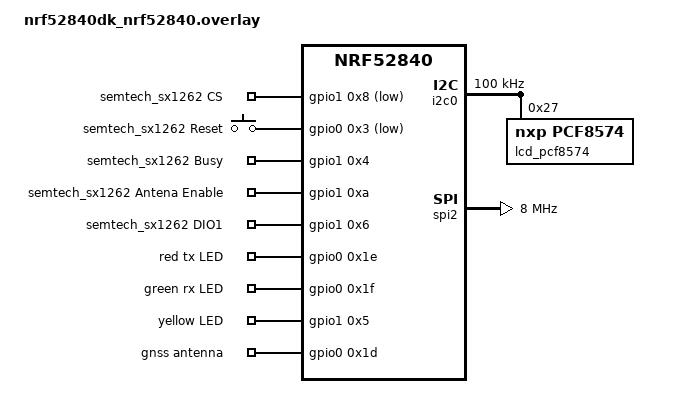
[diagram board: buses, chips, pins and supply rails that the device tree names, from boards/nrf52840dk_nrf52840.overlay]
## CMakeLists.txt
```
#
# Copyright (c) 2022 Nordic Semiconductor ASA
#
# SPDX-License-Identifier: LicenseRef-Nordic-5-Clause
#

cmake_minimum_required(VERSION 3.20.0)

include(../common/bootloader_version.cmake)

set(mcuboot_KCONFIG_ROOT $ENV{ZEPHYR_BASE}/../sidewalk/samples/template_subghz/child_image/mcuboot/Kconfig.root)
set(hci_rpmsg_KCONFIG_ROOT ${CMAKE_CURRENT_SOURCE_DIR}/child_image/hci_rpmsg/Kconfig.root)

find_package(Zephyr REQUIRED HINTS $ENV{ZEPHYR_BASE})
project(sidewalk_template_subghz)

zephyr_include_directories(include)
	# ../../tests/validation/timer/src
# )

target_sources(app PRIVATE
  src/main.c
  src/application_thread.c
  src/board_events.c
  src/sidewalk_callbacks.c
  src/wifi.c
  src/fragment.c
)

if(DEFINED WIFI_DEBUG)
	zephyr_compile_definitions(WIFI_DEBUG)
endif()

if(DEFINED LR11xx)
	zephyr_compile_definitions(LR11xx)
endif()
```

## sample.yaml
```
sample:
  name: Sidewalk application template
  description: Sample implementing Amazon Sidewalk End Device
tests:
  sample.sidewalk.template.lora:
    build_only: true
    platform_allow: nrf52840dk_nrf52840
    integration_platforms:
      - nrf52840dk_nrf52840
    tags: Sidewalk

  sample.sidewalk.template.lora.cli:
    build_only: true
    platform_allow: nrf52840dk_nrf52840
    extra_args: CONFIG_SIDEWALK_CLI=y
    integration_platforms:
      - nrf52840dk_nrf52840
    tags: Sidewalk_cli

  sample.sidewalk.template.lr1110.cli:
    build_only: true
    platform_allow: nrf52840dk_nrf52840
    extra_args: CONFIG_LR1110_CLI=y
    integration_platforms:
      - nrf52840dk_nrf52840
    tags: LR1110_cli

  sample.sidewalk.template.lora.release:
    build_only: true
    platform_allow: nrf52840dk_nrf52840
    extra_args: CONF_FILE=prj_release.conf
    integration_platforms:
      - nrf52840dk_nrf52840
    tags: Sidewalk

  sample.sidewalk.template.lora.dfu_usb:
    build_only: true
    platform_allow: nrf52840dk_nrf52840
    extra_args: OVERLAY_CONFIG=usb_dfu.conf
    integration_platforms:
      - nrf52840dk_nrf52840
    tags: Sidewalk

  sample.sidewalk.template.fsk:
    build_only: true
    platform_allow: nrf52840dk_nrf52840
    extra_args: OVERLAY_CONFIG=fsk.conf
    integration_platforms:
      - nrf52840dk_nrf52840
    tags: Sidewalk

  sample.sidewalk.template.fsk.cli:
    build_only: true
    platform_allow: nrf52840dk_nrf52840
    extra_args: OVERLAY_CONFIG=fsk.conf CONFIG_SIDEWALK_CLI=y
    integration_platforms:
      - nrf52840dk_nrf52840
    tags: Sidewalk_cli

  sample.sidewalk.template.fsk.release:
    build_only: true
    platform_allow: nrf52840dk_nrf52840
    extra_args: OVERLAY_CONFIG=fsk.conf CONF_FILE=prj_release.conf
    integration_platforms:
      - nrf52840dk_nrf52840
    tags: Sidewalk
```

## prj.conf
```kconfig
#
# Copyright (c) 2022 Nordic Semiconductor ASA
#
# SPDX-License-Identifier: LicenseRef-Nordic-5-Clause
#

# LCD1602
# CONFIG_I2C=y

# Sidewalk
CONFIG_SIDEWALK=y
CONFIG_SIDEWALK_LINK_MASK_LORA=y

# Logs
CONFIG_SIDEWALK_LOG_LEVEL_INF=y
CONFIG_NVS_LOG_LEVEL_INF=y
CONFIG_LOG_PRINTK=y

# Buttons and LEDs
CONFIG_GPIO=y
CONFIG_DK_LIBRARY=y

# Bluetooth
CONFIG_BT_DEVICE_NAME="Sid template"

# Debug
CONFIG_RESET_ON_FATAL_ERROR=n
```

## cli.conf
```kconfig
#
# Copyright (c) 2022 Nordic Semiconductor ASA
#
# SPDX-License-Identifier: LicenseRef-Nordic-5-Clause
#

CONFIG_SIDEWALK_CLI=y

CONFIG_LR1110_CLI=y

CONFIG_NEWLIB_LIBC_FLOAT_SCANF=y
```

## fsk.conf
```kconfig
#
# Copyright (c) 2022 Nordic Semiconductor ASA
#
# SPDX-License-Identifier: LicenseRef-Nordic-5-Clause
#

CONFIG_SIDEWALK_LINK_MASK_FSK=y

CONFIG_HW_CC3XX=y
CONFIG_PSA_CRYPTO_DRIVER_CC3XX=y
#CONFIG_PSA_CRYPTO_DRIVER_OBERON=n
CONFIG_MBEDTLS_HEAP_SIZE=1024

CONFIG_SPIN_VALIDATE=n
```

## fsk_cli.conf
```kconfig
#
# Copyright (c) 2022 Nordic Semiconductor ASA
#
# SPDX-License-Identifier: LicenseRef-Nordic-5-Clause
#

CONFIG_SIDEWALK_LINK_MASK_FSK=y

CONFIG_HW_CC3XX=y
CONFIG_PSA_CRYPTO_DRIVER_CC3XX=y
#CONFIG_PSA_CRYPTO_DRIVER_OBERON=n
CONFIG_MBEDTLS_HEAP_SIZE=1024

CONFIG_SPIN_VALIDATE=n

CONFIG_SIDEWALK_CLI=y
CONFIG_LR1110_CLI=y
CONFIG_NEWLIB_LIBC_FLOAT_SCANF=y
```

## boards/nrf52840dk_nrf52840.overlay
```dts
/*
 * Copyright (c) 2022 Nordic Semiconductor ASA
 *
 * SPDX-License-Identifier: LicenseRef-Nordic-5-Clause
 */

&i2c0 {
    status = "okay";
    clock-frequency = <I2C_BITRATE_STANDARD>;
    lcd_pcf8574: pcf8574@27 {
        compatible = "nxp,pcf8574";
        reg = <0x27>;
        gpio-controller;
        #gpio-cells = <2>;
        ngpios = <8>;
    };

};

&spi3 {
	status = "disabled";
};

sid_semtech: &spi2 {
	compatible = "nordic,nrf-spim";
	status = "okay";
	pinctrl-0 = <&spi2_default>;
	pinctrl-1 = <&spi2_sleep>;
	pinctrl-names = "default", "sleep";
	clock-frequency = <DT_FREQ_M(8)>;
};

&spi2_default {
	group1 {
		psels = <NRF_PSEL(SPIM_SCK, 1, 15)>,
			<NRF_PSEL(SPIM_MISO, 1, 14)>,
			<NRF_PSEL(SPIM_MOSI, 1, 13)>;
	};
};

&spi2_sleep {
	group1 {
		psels = <NRF_PSEL(SPIM_SCK, 1, 15)>,
			<NRF_PSEL(SPIM_MISO, 1, 14)>,
			<NRF_PSEL(SPIM_MOSI, 1, 13)>;
		low-power-enable;
	};
};

/ {
	semtech_sx1262_gpios{
 		compatible = "gpio-keys";
		semtech_sx1262_cs: cs {
			gpios = <&gpio1 0x8 GPIO_ACTIVE_LOW>;
			label = "semtech_sx1262 CS";
		};
 		semtech_sx1262_reset_gpios: reset {
			gpios = <&gpio0 0x3 GPIO_ACTIVE_LOW>;
			label = "semtech_sx1262 Reset";
		};
		semtech_sx1262_busy_gpios: busy {
			gpios = <&gpio1 0x4 GPIO_ACTIVE_HIGH>;
			label = "semtech_sx1262 Busy";
		};
		semtech_sx1262_antenna_enable_gpios: antena_enable {
			gpios = <&gpio1 0xa GPIO_ACTIVE_HIGH>;
			label = "semtech_sx1262 Antena Enable";
		};
		semtech_sx1262_dio1_gpios: dio1 {
			gpios = <&gpio1 0x6 GPIO_ACTIVE_HIGH>;
			label = "semtech_sx1262 DIO1";
		};
		radio_led_tx: led_tx {
			gpios = <&gpio0 0x1e GPIO_ACTIVE_HIGH>;
			label = "red tx LED";
		};
		radio_led_rx: led_rx {
			gpios = <&gpio0 0x1f GPIO_ACTIVE_HIGH>;
			label = "green rx LED";
		};
		radio_led_sniff: led_sniff {
			gpios = <&gpio1 0x5 GPIO_ACTIVE_HIGH>;
			label = "yellow LED";
		};
		radio_gnss_lna: gnss_lna {
			gpios = <&gpio0 0x1d GPIO_ACTIVE_HIGH>;
			label = "gnss antenna";
		};
 	};

	chosen {
		nordic,pm-ext-flash = &mx25r64;
	};
};
```

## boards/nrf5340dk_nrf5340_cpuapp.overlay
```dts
/*
 * Copyright (c) 2023 Nordic Semiconductor ASA
 *
 * SPDX-License-Identifier: LicenseRef-Nordic-5-Clause
 */

#include <zephyr/dt-bindings/ipc_service/static_vrings.h>

&ipc0 {
    zephyr,priority = <0 PRIO_COOP>;
};

 sid_semtech: &spi4 {
	compatible = "nordic,nrf-spim";
	status = "okay";
	pinctrl-0 = <&spi4_default>;
	pinctrl-1 = <&spi4_sleep>;
	pinctrl-names = "default", "sleep";
	clock-frequency = <DT_FREQ_M(8)>;
};

/{
	semtech_sx1262_gpios{
		compatible = "gpio-keys";
	   semtech_sx1262_cs: cs {
		   gpios = <&gpio1 0x9 GPIO_ACTIVE_LOW>;
		   label = "semtech_sx1262 CS";
	   };
		semtech_sx1262_reset_gpios: reset {
		   gpios = <&gpio0 0x4 GPIO_ACTIVE_LOW>;
		   label = "semtech_sx1262 Reset";
	   };
	   semtech_sx1262_busy_gpios: busy {
		   gpios = <&gpio1 0x5 GPIO_ACTIVE_HIGH>;
		   label = "semtech_sx1262 Busy";
	   };
	   semtech_sx1262_antenna_enable_gpios: antena_enable {
		   gpios = <&gpio0 0x7 GPIO_ACTIVE_HIGH>;
		   label = "semtech_sx1262 Antena Enable";
	   };
	   semtech_sx1262_dio1_gpios: dio1 {
		   gpios = <&gpio1 0x7 GPIO_ACTIVE_HIGH>;
		   label = "semtech_sx1262 DIO1";
	   };
	};

	chosen {
		nordic,pm-ext-flash = &mx25r64;
	};
};

/* Disable unused peripherals to reduce power consumption */
&adc {
	status = "disabled";
};
&i2c1 {
	status = "disabled";
};
&pwm0 {
	status = "disabled";
};
&spi2 {
	status = "disabled";
};
&usbd {
	status = "disabled";
};
```

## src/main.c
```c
/*
 * Copyright (c) 2023 Nordic Semiconductor ASA
 *
 * SPDX-License-Identifier: LicenseRef-Nordic-5-Clause
 */

#include <math.h>
#include <sid_api.h>
#include <sid_error.h>
#include <sid_pal_assert_ifc.h>
#include <app_ble_config.h>
#include <app_subGHz_config.h>

#include <stdbool.h>
#include <zephyr/kernel.h>
#include <zephyr/logging/log.h>
#include <dk_buttons_and_leds.h>
#include <sidewalk_version.h>
#if defined(CONFIG_BOOTLOADER_MCUBOOT)
#include <zephyr/dfu/mcuboot.h>
#endif
#if defined(CONFIG_SIDEWALK_DFU_SERVICE_USB)
#include <zephyr/usb/usb_device.h>
#endif
#if defined(CONFIG_GPIO)
#include <state_notifier_gpio_backend.h>
#endif
#if defined(CONFIG_LOG)
#include <state_notifier_log_backend.h>
#endif

#include <pal_init.h>
#include <buttons.h>
#include <application_thread.h>
#include <sidewalk_callbacks.h>
#include <halo_lr11xx_radio.h>

LOG_MODULE_REGISTER(main, CONFIG_SIDEWALK_LOG_LEVEL);

static void scan_timer_cb(struct k_timer *);
K_TIMER_DEFINE(scan_timer, scan_timer_cb, NULL);

static app_ctx_t app_context;
void *gnss_scan_done_context = &app_context;
void *wifi_scan_done_context = &app_context;
unsigned auto_scan_interval;

lr11xx_gnss_solver_assistance_position_t assistance_position = { 0, 0 };

static void scan_timer_cb(struct k_timer *timer_id)
{
	app_event_send(EVENT_WIFI_SCAN);
}

unsigned gnss_scan_timer_get()
{
	return k_ticks_to_ms_floor32(scan_timer.period.ticks) / MSEC_PER_SEC;
}

int gnss_scan_timer_set(unsigned sec)
{
	if (sec == 0) {
		k_timer_stop(&scan_timer);
		LOG_INF("timer stopped");
	} else {
		k_timer_start(&scan_timer, Z_TIMEOUT_NO_WAIT, K_SECONDS(sec));
	}
	return 0;
}

static void button_handler(uint32_t event)
{
	app_event_send((app_event_t) event);
}

static sid_error_t app_buttons_init(btn_handler_t handler)
{
	button_set_action_short_press(DK_BTN1, handler, BUTTON_EVENT_FSK_MODE);
	button_set_action_long_press(DK_BTN1, handler, BUTTON_EVENT_FACTORY_RESET);
	button_set_action_short_press(DK_BTN2, handler, BUTTON_EVENT_GET_DEVICE_PROFILE);
	button_set_action_long_press(DK_BTN2, handler, BUTTON_EVENT_SET_DEVICE_PROFILE);
	button_set_action_short_press(DK_BTN3, handler, BUTTON_EVENT_SEND_HELLO);
	button_set_action_short_press(DK_BTN4, handler, BUTTON_EVENT_LORA_MODE);
	#if defined(CONFIG_SIDEWALK_DFU)
	button_set_action_long_press(DK_BTN4, handler, BUTTON_EVENT_NORDIC_DFU);
	#endif

	return buttons_init() ? SID_ERROR_GENERIC : SID_ERROR_NONE;
}

static void app_setup(void)
{
	if (app_buttons_init(button_handler)) {
		LOG_ERR("Failed to initialze buttons.");
		SID_PAL_ASSERT(false);
	}

	if (dk_leds_init()) {
		LOG_ERR("Failed to initialze LEDs.");
		SID_PAL_ASSERT(false);
	}
	#if defined(CONFIG_GPIO)
	state_watch_init_gpio(&global_state_notifier);
	#endif
	#if defined(CONFIG_LOG)
	state_watch_init_log(&global_state_notifier);
	#endif

	#if defined(CONFIG_SIDEWALK_DFU_SERVICE_USB)
	if (usb_enable(NULL)) {
		LOG_ERR("Failed to enable USB");
		return;
	}
	#endif

	if (sidewalk_callbacks_set(&app_context, &app_context.event_callbacks)) {
		LOG_ERR("Failed to set sidewalk callbacks");
		SID_PAL_ASSERT(false);
	}

	app_context.config = (struct sid_config) {
		.link_mask = BUILT_IN_LM,
		.time_sync_periodicity_seconds = 7200,
		.callbacks = &app_context.event_callbacks,
		.link_config = app_get_ble_config(),
		.sub_ghz_link_config = app_get_sub_ghz_config(),
	};

	#if defined(CONFIG_BOOTLOADER_MCUBOOT)
	if (!boot_is_img_confirmed()) {
		int ret = boot_write_img_confirmed();

		if (ret) {
			LOG_ERR("Couldn't confirm image: %d", ret);
		} else {
			LOG_INF("Marked image as OK");
		}
	}
	#endif
}

int main()
{
	PRINT_SIDEWALK_VERSION();

	app_setup();

	if (app_thread_init(&app_context)) {
		LOG_ERR("Failed to start Sidewalk thread");
	}

	auto_scan_interval = DEFAULT_AUTO_SCAN_INTERVAL;
	return 0;
}
```

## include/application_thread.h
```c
/*
 * Copyright (c) 2023 Nordic Semiconductor ASA
 *
 * SPDX-License-Identifier: LicenseRef-Nordic-5-Clause
 */

#ifndef APPLICATION_THREAD_H
#define APPLICATION_THREAD_H

#include <sid_api.h>
#include "fragment.h"

#ifdef CONFIG_SIDEWALK_LINK_MASK_BLE
#define BUILT_IN_LM             (uint32_t)(SID_LINK_TYPE_1)
#elif  CONFIG_SIDEWALK_LINK_MASK_FSK
#define BUILT_IN_LM             (uint32_t)(SID_LINK_TYPE_2)
#elif CONFIG_SIDEWALK_LINK_MASK_LORA
#define BUILT_IN_LM             (uint32_t)(SID_LINK_TYPE_3)
#else
#error "Not defined Sidewalk link mask!!"
#endif

#define NB_MAX_SV		8	/* GNSS */
#define DEFAULT_AUTO_SCAN_INTERVAL		30		/* seconds */

#define FRAGMENT_TYPE_GNSS         0	// to cloud port 198
#define FRAGMENT_TYPE_WIFI         1	// to cloud port 197
#define FRAGMENT_TYPE_MODEM_MSG    2	// to cloud port 199
#define FRAGMENT_TYPE_GNSS_NG      3	// to cloud port 192

typedef struct application_context {
	struct sid_event_callbacks event_callbacks;
	struct sid_config config;
	struct sid_handle *handle;
	bool connection_request;
	fragment_t frag;
} app_ctx_t;

typedef enum application_events {
	SIDEWALK_EVENT,

	BUTTON_EVENT_SEND_HELLO,
	BUTTON_EVENT_SET_BATTERY_LEVEL,
	BUTTON_EVENT_FACTORY_RESET,
	BUTTON_EVENT_FSK_MODE,
	BUTTON_EVENT_LORA_MODE,
	BUTTON_EVENT_GET_DEVICE_PROFILE,
	BUTTON_EVENT_SET_DEVICE_PROFILE,
	#if  defined(CONFIG_SIDEWALK_DFU)
	BUTTON_EVENT_NORDIC_DFU,
	#endif
	EVENT_WIFI_SCAN,
	EVENT_TO_FSK,
	EVENT_TO_LORA,
	EVENT_SCAN_RESULT_SEND,
	EVENT_SCAN_INTERVAL_INCR,
    EVENT_SID_INIT,
} app_event_t;

/**
 * @brief Send Event to application thread
 *
 * @param event event to send
 */
void app_event_send(app_event_t event);

/**
 * @brief Initialize and start application thread
 *
 * @param ctx application context
 *
 * @return SID_ERROR_NULL_POINTER in case of invalid ctx
 */
sid_error_t app_thread_init(app_ctx_t *ctx);

extern unsigned auto_scan_interval;
int gnss_scan_timer_set(unsigned sec);
unsigned gnss_scan_timer_get(void);
int scan_wifi(app_ctx_t *app_ctx);

#endif /* APPLICATION_THREAD_H */
```

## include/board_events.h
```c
/*
 * Copyright (c) 2023 Nordic Semiconductor ASA
 *
 * SPDX-License-Identifier: LicenseRef-Nordic-5-Clause
 */

#ifndef BOARD_EVENTS_H
#define BOARD_EVENTS_H

#include <application_thread.h>

/**
 * @brief Application handler for sending hello message
 *
 * @param application_ctx
 */
void button_event_send_hello(app_ctx_t *application_ctx);

/**
 * @brief Application handler for sending battery level
 *
 * @param application_ctx
 */
void button_event_set_battery(app_ctx_t *application_ctx);

/**
 * @brief Application handler for entering in DFU mode
 *
 * @param application_ctx
 */
void button_event_DFU(app_ctx_t *application_ctx);

/**
 * @brief Applicaiton handler for requesting factory reset
 *
 * @param application_ctx
 */
void button_event_factory_reset(app_ctx_t *application_ctx);

/**
 * @brief Application handler for reading profile
 *
 * @param application_ctx
 */
void button_event_get_profile(app_ctx_t *application_ctx);

/**
 * @brief Application handler for setting profile
 *
 * @param application_ctx
 */
void button_event_set_ptofile(app_ctx_t *application_ctx);

void button_event_fsk_mode(app_ctx_t *application_ctx);
void button_event_lora_mode(app_ctx_t *application_ctx);
void app_event_wifi_scan(void);
void button_event_incr_scan_interval(app_ctx_t *application_ctx);

#endif /* BOARD_EVENTS_H */
```

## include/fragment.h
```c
/*!
 * @file      main.c
 *
 * @brief     packet fragmentation over sidewalk 
 *
 * The Clear BSD License
 * Copyright Semtech Corporation 2022. All rights reserved.
 *
 * Redistribution and use in source and binary forms, with or without
 * modification, are permitted (subject to the limitations in the disclaimer
 * below) provided that the following conditions are met:
 *     * Redistributions of source code must retain the above copyright
 *       notice, this list of conditions and the following disclaimer.
 *     * Redistributions in binary form must reproduce the above copyright
 *       notice, this list of conditions and the following disclaimer in the
 *       documentation and/or other materials provided with the distribution.
 *     * Neither the name of the Semtech corporation nor the
 *       names of its contributors may be used to endorse or promote products
 *       derived from this software without specific prior written permission.
 *
 * NO EXPRESS OR IMPLIED LICENSES TO ANY PARTY'S PATENT RIGHTS ARE GRANTED BY
 * THIS LICENSE. THIS SOFTWARE IS PROVIDED BY THE COPYRIGHT HOLDERS AND
 * CONTRIBUTORS "AS IS" AND ANY EXPRESS OR IMPLIED WARRANTIES, INCLUDING, BUT
 * NOT LIMITED TO, THE IMPLIED WARRANTIES OF MERCHANTABILITY AND FITNESS FOR A
 * PARTICULAR PURPOSE ARE DISCLAIMED. IN NO EVENT SHALL SEMTECH CORPORATION BE
 * LIABLE FOR ANY DIRECT, INDIRECT, INCIDENTAL, SPECIAL, EXEMPLARY, OR
 * CONSEQUENTIAL DAMAGES (INCLUDING, BUT NOT LIMITED TO, PROCUREMENT OF
 * SUBSTITUTE GOODS OR SERVICES; LOSS OF USE, DATA, OR PROFITS; OR BUSINESS
 * INTERRUPTION) HOWEVER CAUSED AND ON ANY THEORY OF LIABILITY, WHETHER IN
 * CONTRACT, STRICT LIABILITY, OR TORT (INCLUDING NEGLIGENCE OR OTHERWISE)
 * ARISING IN ANY WAY OUT OF THE USE OF THIS SOFTWARE, EVEN IF ADVISED OF THE
 * POSSIBILITY OF SUCH DAMAGE.
 */

#ifndef FRAGMENT_H
#define FRAGMENT_H

#include <stdint.h>
#include <stddef.h>

typedef struct {
	uint8_t index;
	uint8_t nbytes_sent_this_fragment;
	uint8_t current_fragment;
	uint8_t total_fragments;
	uint8_t total_bytes;
	uint8_t num_bytes_sending;
	size_t mtu;
	uint8_t frag_type;
	const uint8_t *buffer;
} fragment_t;

void send_scan_result(void *app_ctx);

void fragment_msg_sent(void *ctx);

void fragment_send_error(void *context);

#endif /* FRAGMENT_H */
```

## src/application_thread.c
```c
/*
 * Copyright (c) 2023 Nordic Semiconductor ASA
 *
 * SPDX-License-Identifier: LicenseRef-Nordic-5-Clause
 */
#include <sid_api.h>
#include <sid_error.h>

#include <zephyr/kernel.h>
#include <zephyr/logging/log.h>

#include <board_events.h>
#include <pal_init.h>
#if defined(CONFIG_SIDEWALK_CLI)
#include <sid_shell.h>
#endif
#if defined(CONFIG_LR1110_CLI)
#include <lr1110_shell.h>
#endif
#include <halo_lr11xx_radio.h>

#include <application_thread.h>
#include <state_notifier.h>

extern wifi_configuration_scan_t wifi_configuration;

static struct k_thread application_thread;

K_THREAD_STACK_DEFINE(application_thread_stack, CONFIG_SIDEWALK_THREAD_STACK_SIZE);
K_MSGQ_DEFINE(application_thread_msgq, sizeof(app_event_t), CONFIG_SIDEWALK_THREAD_QUEUE_SIZE, 4);

LOG_MODULE_REGISTER(application, CONFIG_SIDEWALK_LOG_LEVEL);

static int app_start_sid(app_ctx_t *app_ctx)
{
	sid_error_t err = sid_start(app_ctx->handle, app_ctx->config.link_mask);
	if (err) {
		LOG_ERR("Unknown error during sidewalk start! %d", err);
		application_state_error(&global_state_notifier, true);
		return -1;
	}

	return 0;
}

static int app_init_sid(app_ctx_t *app_ctx)
{
	sid_error_t err = sid_init(&app_ctx->config, &app_ctx->handle);

	switch (err) {
	case SID_ERROR_NONE: break;
	case SID_ERROR_ALREADY_INITIALIZED: LOG_WRN("Sidewalk already initialized!"); break;
	default: LOG_ERR("Unknown error during sidewalk initialization!");
		application_state_error(&global_state_notifier, true);
		return -1;
	}
	return 0;
}

static void sidewalk_app_entry(void *ctx, void *unused, void *unused2)
{
	ARG_UNUSED(unused);
	ARG_UNUSED(unused2);
	app_ctx_t *application_ctx = (app_ctx_t *)ctx;

	if (application_pal_init()) {
		LOG_ERR("Failed to initialze PAL layer for sidewalk applicaiton.");
		application_state_error(&global_state_notifier, true);
		return;
	}

	sid_error_t err = sid_init(&application_ctx->config, &application_ctx->handle);

	switch (err) {
	case SID_ERROR_NONE: break;
	case SID_ERROR_ALREADY_INITIALIZED: LOG_WRN("Sidewalk already initialized!"); break;
	default: LOG_ERR("Unknown error during sidewalk initialization!");
		application_state_error(&global_state_notifier, true);
		return;
	}

	err = sid_start(application_ctx->handle, BUILT_IN_LM);
	if (err) {
		LOG_ERR("Unknown error during sidewalk start!");
		application_state_error(&global_state_notifier, true);
		return;
	}
#if defined(CONFIG_SIDEWALK_CLI)
	CLI_init(application_ctx->handle, &application_ctx->config);
#endif
#if defined(CONFIG_LR1110_CLI)
	LR1110_CLI_init(application_ctx->handle);
#endif
	application_state_connected(&global_state_notifier, false);
	application_state_working(&global_state_notifier, true);
	while (true) {
		app_event_t event = SIDEWALK_EVENT;

		if (!k_msgq_get(&application_thread_msgq, &event, K_FOREVER)) {
			switch (event) {
			case SIDEWALK_EVENT: err = sid_process(application_ctx->handle); if (err) {
					LOG_WRN("sid_process returned %d", err);
			}
				break;
			case BUTTON_EVENT_SEND_HELLO: button_event_send_hello(application_ctx); break;
			case BUTTON_EVENT_SET_BATTERY_LEVEL: button_event_set_battery(application_ctx); break;
			case BUTTON_EVENT_FSK_MODE: button_event_fsk_mode(application_ctx); break;
			case BUTTON_EVENT_LORA_MODE: button_event_lora_mode(application_ctx); break;
			case BUTTON_EVENT_FACTORY_RESET: button_event_factory_reset(application_ctx); break;
			case BUTTON_EVENT_GET_DEVICE_PROFILE: button_event_get_profile(application_ctx); break;
			case BUTTON_EVENT_SET_DEVICE_PROFILE: button_event_set_ptofile(application_ctx); break;

			#if defined(CONFIG_SIDEWALK_DFU)
			case BUTTON_EVENT_NORDIC_DFU: button_event_DFU(application_ctx); break;
			#endif
			case EVENT_TO_FSK:
				LOG_INF("EVENT_TO_FSK");
				application_ctx->config.link_mask = SID_LINK_TYPE_2;
				if (app_init_sid(application_ctx) == 0) {
					app_start_sid(application_ctx);
				}
				break;
			case EVENT_TO_LORA:
				LOG_INF("EVENT_TO_LORA");
				application_ctx->config.link_mask = SID_LINK_TYPE_3;
				if (app_init_sid(application_ctx) == 0) {
					app_start_sid(application_ctx);
				}
				break;
			case EVENT_SCAN_RESULT_SEND:
				send_scan_result(application_ctx);
				break;
			case EVENT_SCAN_INTERVAL_INCR:
				button_event_incr_scan_interval(application_ctx);
				break;
			case EVENT_SID_INIT:
				LOG_INF("EVENT_SID_INIT");
				app_init_sid(application_ctx);
				break;
			case EVENT_WIFI_SCAN:
				scan_wifi(application_ctx);
				break;
			default:
				LOG_ERR("Invalid Event received!");
			}
		}
	}
	application_state_working(&global_state_notifier, false);
}

void app_event_send(app_event_t event)
{
	int ret = k_msgq_put(&application_thread_msgq, (void *)&event, k_is_in_isr() ? K_NO_WAIT : K_FOREVER);

	if (ret) {
		LOG_ERR("Failed to send event to application thread. err: %d", ret);
	}
}

sid_error_t app_thread_init(app_ctx_t *ctx)
{
	if (!ctx) {
		return SID_ERROR_NULL_POINTER;
	}
	(void)k_thread_create(&application_thread, application_thread_stack,
				K_THREAD_STACK_SIZEOF(application_thread_stack),
				sidewalk_app_entry, ctx, NULL, NULL,
				CONFIG_SIDEWALK_THREAD_PRIORITY, 0, K_NO_WAIT);
	k_thread_name_set(&application_thread, "sidewalk_thread");

	return SID_ERROR_NONE;
}
```

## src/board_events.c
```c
/*
 * Copyright (c) 2023 Nordic Semiconductor ASA
 *
 * SPDX-License-Identifier: LicenseRef-Nordic-5-Clause
 */

#include <stdio.h>
#include <sid_api.h>
#include <sid_error.h>
#include <sid_900_cfg.h>

#include <state_notifier.h>
#include <board_events.h>
#ifdef LR11xx
#include <halo_lr11xx_radio.h>
#endif /* LR11xx */

#if defined(CONFIG_SIDEWALK_DFU)
#include <nordic_dfu.h>
#endif

#include <zephyr/logging/log.h>

LOG_MODULE_REGISTER(board_events, CONFIG_SIDEWALK_LOG_LEVEL);

#if defined(CONFIG_SIDEWALK_LINK_MASK_FSK)
static struct sid_device_profile profile_light = {
	.unicast_params.device_profile_id = SID_LINK2_PROFILE_1,
	.unicast_params.rx_window_count = SID_RX_WINDOW_CNT_INFINITE,
	.unicast_params.unicast_window_interval.sync_rx_interval_ms = SID_LINK2_RX_WINDOW_SEPARATION_3,
	.unicast_params.wakeup_type = SID_TX_AND_RX_WAKEUP,
};

static struct sid_device_profile profile_fast = {
	.unicast_params.device_profile_id = SID_LINK2_PROFILE_2,
	.unicast_params.rx_window_count = SID_RX_WINDOW_CNT_INFINITE,
	.unicast_params.unicast_window_interval.sync_rx_interval_ms = SID_LINK2_RX_WINDOW_SEPARATION_3,
	.unicast_params.wakeup_type = SID_TX_AND_RX_WAKEUP,
};

static struct sid_device_profile profile_from_dev = {
	.unicast_params.device_profile_id = SID_LINK2_PROFILE_1
};
#elif defined(CONFIG_SIDEWALK_LINK_MASK_LORA)
static struct sid_device_profile profile_light = {
	.unicast_params.device_profile_id = SID_LINK3_PROFILE_A,
	.unicast_params.rx_window_count =  SID_RX_WINDOW_CNT_2,
	.unicast_params.unicast_window_interval.async_rx_interval_ms = SID_LINK3_RX_WINDOW_SEPARATION_3,
	.unicast_params.wakeup_type = SID_TX_AND_RX_WAKEUP,
};

static struct sid_device_profile profile_fast = {
	.unicast_params.device_profile_id = SID_LINK3_PROFILE_B,
	.unicast_params.rx_window_count = SID_RX_WINDOW_CNT_INFINITE,
	.unicast_params.unicast_window_interval.async_rx_interval_ms = SID_LINK3_RX_WINDOW_SEPARATION_3,
	.unicast_params.wakeup_type = SID_TX_AND_RX_WAKEUP,
};

static struct sid_device_profile profile_from_dev = {
	.unicast_params.device_profile_id = SID_LINK3_PROFILE_A
};
#endif

void button_event_incr_scan_interval(app_ctx_t *application_ctx)
{
	char str[17];
	auto_scan_interval += 60;
	if (auto_scan_interval > 600)
		auto_scan_interval = 60;
	sprintf(str, "gnss %u sec     ", auto_scan_interval);
	gnss_scan_timer_set(auto_scan_interval);
}

void button_event_send_hello(app_ctx_t *application_ctx)
{
	struct sid_status status = { .state = SID_STATE_NOT_READY };
	sid_error_t err;

	static uint8_t counter = 0;
	static struct sid_msg msg;
	static struct sid_msg_desc desc;

	err = sid_get_status(application_ctx->handle, &status);
	switch (err) {
	case SID_ERROR_NONE: break;
	case SID_ERROR_INVALID_ARGS: LOG_ERR("Sidewalk library is not initialzied!"); return;
	default: LOG_ERR("Unknown error during sid_get_status() -> %d", err);
		return;
	}

	if (status.state != SID_STATE_READY && status.state != SID_STATE_SECURE_CHANNEL_READY) {
		LOG_ERR(
			"Sidewalk Status is invalid!, expected SID_STATE_READY or SID_STATE_SECURE_CHANNEL_READY, got %d",
			status.state);
		return;
	}

	msg = (struct sid_msg){ .data = (uint8_t *)&counter, .size = sizeof(uint8_t) };
	desc = (struct sid_msg_desc){
		.type = SID_MSG_TYPE_NOTIFY,
		.link_type = SID_LINK_TYPE_ANY,
		.link_mode = SID_LINK_MODE_CLOUD,
	};

	desc.msg_desc_attr.tx_attr.request_ack = 1;
	desc.msg_desc_attr.tx_attr.num_retries = 1;
	desc.msg_desc_attr.tx_attr.ttl_in_seconds = 30;

	err = sid_put_msg(application_ctx->handle, &msg, &desc);
	switch (err) {
	case SID_ERROR_NONE: {
		application_state_sending(&global_state_notifier, true);
		counter++;
		LOG_INF("queued data message id:%d", desc.id);
		break;
	}
	case SID_ERROR_TRY_AGAIN: {
		LOG_ERR("there is no space in the transmit queue, Try again.");
		break;
	}
	default: LOG_ERR("Unknown error returned from sid_put_msg() -> %d", err);
	}
}

void button_event_set_battery(app_ctx_t *application_ctx)
{
	static uint8_t fake_bat_lev = 70;

	++fake_bat_lev;
	if (fake_bat_lev > 100) {
		fake_bat_lev = 0;
	}
	sid_error_t ret = sid_option(application_ctx->handle, SID_OPTION_BLE_BATTERY_LEVEL,
				&fake_bat_lev, sizeof(fake_bat_lev));

	if (SID_ERROR_NONE != ret) {
		LOG_ERR("failed setting Sidewalk option!");
	} else {
		LOG_DBG("set battery level to %d", fake_bat_lev);
	}
}

#if defined(CONFIG_SIDEWALK_DFU)
void button_event_DFU(app_ctx_t *application_ctx)
{
	sid_error_t err = sid_deinit(application_ctx->handle);

	if (err != SID_ERROR_NONE) {
		LOG_ERR("Failed to deinitialize sidewalk! sid_deinit returned %d", err);
		return;
	}

	application_ctx->handle = NULL;

	int ret = nordic_dfu_ble_start();

	if (ret) {
		LOG_ERR("DFU SMP start error (code %d)", ret);
	}
	application_state_dfu(&global_state_notifier, true);
}

#endif

void button_event_lora_mode(app_ctx_t *application_ctx)
{
	if (application_ctx->config.link_mask == SID_LINK_TYPE_3) {
		LOG_INF("already in LoRa");
		return;
	}

	sid_error_t err = sid_deinit(application_ctx->handle);

	if (err != SID_ERROR_NONE) {
		LOG_ERR("Failed to deinitialize sidewalk! sid_deinit returned %d", err);
	} else {
		LOG_INF("to_lora sid_deinit ok");
		app_event_send(EVENT_TO_LORA);
	}
}

void button_event_fsk_mode(app_ctx_t *application_ctx)
{
	if (application_ctx->config.link_mask == SID_LINK_TYPE_2) {
		LOG_INF("already in FSK");
		return;
	}

	sid_error_t err = sid_deinit(application_ctx->handle);

	if (err != SID_ERROR_NONE) {
		LOG_ERR("Failed to deinitialize sidewalk! sid_deinit returned %d", err);
	} else {
		LOG_INF("to_fsk sid_deinit ok");
		app_event_send(EVENT_TO_FSK);
	}
}

void button_event_factory_reset(app_ctx_t *application_ctx)
{
	sid_error_t ret = sid_set_factory_reset(application_ctx->handle);

	if (SID_ERROR_NONE != ret) {
		LOG_ERR("Notification of factory reset to sid api failed!");
	} else {
		LOG_DBG("Wait for Sid api to notify to proceed with factory reset!");
	}
}

void button_event_get_profile(app_ctx_t *application_ctx)
{
	sid_error_t ret = sid_option(application_ctx->handle, SID_OPTION_900MHZ_GET_DEVICE_PROFILE,
					&profile_from_dev, sizeof(profile_from_dev));

	if (ret) {
		LOG_ERR("Profile get failed (err %d)", ret);
		return;
	}

	LOG_INF("\n"			   \
		"Profile id 0x%x\n"	   \
		"Profile dl count %d\n"	   \
		"Profile dl interval %d\n" \
		"Profile wakeup %d\n",
		profile_from_dev.unicast_params.device_profile_id,
		profile_from_dev.unicast_params.rx_window_count,
		profile_from_dev.unicast_params.unicast_window_interval.async_rx_interval_ms,
		profile_from_dev.unicast_params.wakeup_type);
}

void button_event_set_ptofile(app_ctx_t *application_ctx)
{
	static struct sid_device_profile *new_profile = &profile_light;

	LOG_INF("Profile set %s", (&profile_light == new_profile) ? "light" : "fast");

	sid_error_t ret = sid_option(application_ctx->handle, SID_OPTION_900MHZ_SET_DEVICE_PROFILE, new_profile,
					sizeof(*new_profile));

	if (!ret) {
		new_profile = (&profile_light == new_profile) ? &profile_fast : &profile_light;
		LOG_INF("Profile set success.");
	} else {
		LOG_ERR("Profile set failed (err %d)", ret);
	}
}

void app_event_send_standby() { }
void app_event_send_sleep() { }
void app_event_send_wake() { }

void app_event_send_sid_init()
{
	app_event_send(EVENT_SID_INIT);
}

void app_event_wifi_scan()
{
	app_event_send(EVENT_WIFI_SCAN);
}
```

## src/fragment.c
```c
/*!
 * @file      fragment.c
 *
 * @brief     packet fragmentation over sidewalk
 *
 * The Clear BSD License
 * Copyright Semtech Corporation 2022. All rights reserved.
 *
 * Redistribution and use in source and binary forms, with or without
 * modification, are permitted (subject to the limitations in the disclaimer
 * below) provided that the following conditions are met:
 *     * Redistributions of source code must retain the above copyright
 *       notice, this list of conditions and the following disclaimer.
 *     * Redistributions in binary form must reproduce the above copyright
 *       notice, this list of conditions and the following disclaimer in the
 *       documentation and/or other materials provided with the distribution.
 *     * Neither the name of the Semtech corporation nor the
 *       names of its contributors may be used to endorse or promote products
 *       derived from this software without specific prior written permission.
 *
 * NO EXPRESS OR IMPLIED LICENSES TO ANY PARTY'S PATENT RIGHTS ARE GRANTED BY
 * THIS LICENSE. THIS SOFTWARE IS PROVIDED BY THE COPYRIGHT HOLDERS AND
 * CONTRIBUTORS "AS IS" AND ANY EXPRESS OR IMPLIED WARRANTIES, INCLUDING, BUT
 * NOT LIMITED TO, THE IMPLIED WARRANTIES OF MERCHANTABILITY AND FITNESS FOR A
 * PARTICULAR PURPOSE ARE DISCLAIMED. IN NO EVENT SHALL SEMTECH CORPORATION BE
 * LIABLE FOR ANY DIRECT, INDIRECT, INCIDENTAL, SPECIAL, EXEMPLARY, OR
 * CONSEQUENTIAL DAMAGES (INCLUDING, BUT NOT LIMITED TO, PROCUREMENT OF
 * SUBSTITUTE GOODS OR SERVICES; LOSS OF USE, DATA, OR PROFITS; OR BUSINESS
 * INTERRUPTION) HOWEVER CAUSED AND ON ANY THEORY OF LIABILITY, WHETHER IN
 * CONTRACT, STRICT LIABILITY, OR TORT (INCLUDING NEGLIGENCE OR OTHERWISE)
 * ARISING IN ANY WAY OUT OF THE USE OF THIS SOFTWARE, EVEN IF ADVISED OF THE
 * POSSIBILITY OF SUCH DAMAGE.
 */

#include <application_thread.h>
#include <string.h>
#include <state_notifier.h>
#include <zephyr/logging/log.h>

LOG_MODULE_REGISTER(fragment, CONFIG_SIDEWALK_LOG_LEVEL);

void send_scan_result(void *context)
{
	app_ctx_t *app_ctx = (app_ctx_t *)context;
	sid_error_t err;
	static struct sid_msg msg;
	static struct sid_msg_desc desc;
	static uint8_t dummy[258];
	uint8_t remaining = app_ctx->frag.total_bytes - app_ctx->frag.index;
	uint8_t this_length = remaining;
	uint8_t byte_per_fragment = app_ctx->frag.mtu - 1;

#ifdef GNSS_DEBUG
	LOG_INF("send_scan_result index:%d total:%d cur_frag:%d mtu=%d", app_ctx->frag.index, app_ctx->frag.total_bytes, app_ctx->frag.current_fragment, app_ctx->frag.mtu);
#endif /* GNSS_DEBUG */

	if (this_length > byte_per_fragment)
		this_length = byte_per_fragment;

	app_ctx->frag.nbytes_sent_this_fragment = this_length;

	dummy[0] = app_ctx->frag.current_fragment & 7;
	dummy[0] |= (app_ctx->frag.total_fragments & 7) << 3;
	dummy[0] |= (app_ctx->frag.frag_type & 3) << 6;
	memcpy(dummy+1, app_ctx->frag.buffer + app_ctx->frag.index, this_length);

#ifdef GNSS_DEBUG
	LOG_HEXDUMP_INF(dummy, this_length+1, "fragment");
#endif /* GNSS_DEBUG */
	msg = (struct sid_msg){ .data = dummy, .size = this_length+1};
	desc = (struct sid_msg_desc){
		.type = SID_MSG_TYPE_NOTIFY,
		.link_type = SID_LINK_TYPE_ANY,
		.link_mode = SID_LINK_MODE_CLOUD,
	};

	err = sid_put_msg(app_ctx->handle, &msg, &desc);
	switch (err) {
	case SID_ERROR_NONE: {
		application_state_sending(&global_state_notifier, true);
		LOG_INF("queued data message id:%d", desc.id);
		break;
	}
	case SID_ERROR_TRY_AGAIN: {
		LOG_ERR("there is no space in the transmit queue, Try again.");
		break;
	}
	default: LOG_ERR("Unknown error returned from sid_put_msg() -> %d", err);
	}
}

void fragment_msg_sent(void *context)
{
	app_ctx_t *app_ctx = (app_ctx_t *)context;

	if (app_ctx->frag.total_fragments > 0) {
		/* done sending gnss fragment */
		app_ctx->frag.index += app_ctx->frag.nbytes_sent_this_fragment;
		if (++app_ctx->frag.current_fragment < app_ctx->frag.total_fragments) {
			/* send next fragment */
			app_event_send(EVENT_SCAN_RESULT_SEND);
		} else {
			if (app_ctx->frag.index != app_ctx->frag.total_bytes)
				LOG_ERR("incorrect send completion count (%d %d)", app_ctx->frag.index, app_ctx->frag.total_bytes);
			else
				LOG_INF("done sending fragments (%u %u)", app_ctx->frag.index, app_ctx->frag.total_bytes);
			app_ctx->frag.total_fragments = 0;	// indicate done sending
			app_ctx->frag.current_fragment = 0;
		}
	}
}

void fragment_send_error(void *context)
{
	app_ctx_t *app_ctx = (app_ctx_t *)context;

	if (app_ctx->frag.total_fragments > 0) {
		/* TODO: reproduce this failure and then implement sending retry */
		LOG_ERR("aborting fragment-send");
		app_ctx->frag.total_fragments = 0;	// indicate done sending
		app_ctx->frag.current_fragment = 0;
	}
}
```

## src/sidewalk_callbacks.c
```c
/*
 * Copyright (c) 2023 Nordic Semiconductor ASA
 *
 * SPDX-License-Identifier: LicenseRef-Nordic-5-Clause
 */

#include <stdio.h>
#include <sid_api.h>
#include <sid_error.h>
#include <sid_hal_reset_ifc.h>
// #include <sid_clock_ifc.h>
#include <sid_time_ops.h>

#include <state_notifier.h>
#if defined(CONFIG_SIDEWALK_CLI)
#include <sid_shell.h>
#endif

#include <application_thread.h>

#include <zephyr/logging/log.h>

LOG_MODULE_REGISTER(callbacks, CONFIG_SIDEWALK_LOG_LEVEL);

static const uint8_t *status_name[] = {
	"ready", "not ready", "Error", "secure channel ready"
};

static const uint8_t *link_mode_idx_name[] = {
	"ble", "fsk", "lora"
};

static void on_sidewalk_event(bool in_isr, void *context)
{
	LOG_DBG("on event, from %s, context %p", in_isr ? "ISR" : "App", context);
	app_event_send(SIDEWALK_EVENT);
}

static void on_sidewalk_msg_received(const struct sid_msg_desc *msg_desc, const struct sid_msg *msg, void *context)
{
	// char lcd_str[17];
	#ifdef CONFIG_SIDEWALK_CLI
	CLI_register_message_received(msg_desc->id);
	#endif
	application_state_receiving(&global_state_notifier, true);
	application_state_receiving(&global_state_notifier, false);
	LOG_INF("received message(type: %d, link_mode: %d, id: %u size %u) rssi:%d snr:%d", (int)msg_desc->type,
		(int)msg_desc->link_mode, msg_desc->id, msg->size,
		msg_desc->msg_desc_attr.rx_attr.rssi,
		msg_desc->msg_desc_attr.rx_attr.snr);
	LOG_HEXDUMP_INF((uint8_t *)msg->data, msg->size, "Message data: ");

	// if (msg_desc->link_type == SID_LINK_TYPE_2) {
	// 	sprintf(lcd_str, "%ddBm       ", msg_desc->msg_desc_attr.rx_attr.rssi);
	// } else if (msg_desc->link_type >= SID_LINK_TYPE_3) {
	// 	sprintf(lcd_str, "%ddBm snr:%d",
	// 		msg_desc->msg_desc_attr.rx_attr.rssi,
	// 		msg_desc->msg_desc_attr.rx_attr.snr
	// 	);
	// }
}

static void on_sidewalk_msg_sent(const struct sid_msg_desc *msg_desc, void *context)
{
	application_state_sending(&global_state_notifier, false);
	#ifdef CONFIG_SIDEWALK_CLI
	CLI_register_message_send();
	#endif
	LOG_INF("sent message(type: %d, id: %u)", (int)msg_desc->type, msg_desc->id);

	fragment_msg_sent(context);
}

static void on_sidewalk_send_error(sid_error_t error, const struct sid_msg_desc *msg_desc, void *context)
{
	// char lcd_str[17];
	application_state_sending(&global_state_notifier, false);
	#ifdef CONFIG_SIDEWALK_CLI
	CLI_register_message_not_send();
	#endif
	LOG_ERR("failed to send message(type: %d, id: %u), err:%d", (int)msg_desc->type, msg_desc->id, (int)error);

	// if (error == SID_ERROR_TIMEOUT)
	// 	strcpy(lcd_str, "  timeout     ");
	// else if (error == SID_ERROR_GENERIC)
	// 	strcpy(lcd_str, " ERROR_GENERIC  ");
	// else
	// 	sprintf(lcd_str, " sendFAIL %d", error);

	fragment_send_error(context);
}

static void on_sidewalk_status_changed(const struct sid_status *status, void *context)
{
	// static struct sid_timespec nReady_time = { 0xffffffff, 0xffffffff };
	// struct sid_timespec curr_time;
	// char lcd_str[17];
	LOG_INF("status changed: %s", status_name[status->state]);

	app_ctx_t *app_ctx = (app_ctx_t *)context;

#ifdef CONFIG_SIDEWALK_CLI
	CLI_register_sid_status(status);
#endif
	switch (status->state) {
	case SID_STATE_READY:
		application_state_connected(&global_state_notifier, true);
		sid_error_t err = sid_get_mtu(app_ctx->handle, BUILT_IN_LM, &app_ctx->frag.mtu);
		if (err != SID_ERROR_NONE)
			LOG_ERR("%d = sid_get_mtu()", err);
		// err = sid_clock_now(SID_CLOCK_SOURCE_UPTIME, &curr_time, NULL);
		if (err != SID_ERROR_NONE) {
			LOG_ERR("%d = sid_clock_now()", err);
		} else {
			// sid_time_sub(&curr_time, &nReady_time);
			LOG_INF("was not-ready");
		}
		gnss_scan_timer_set(DEFAULT_AUTO_SCAN_INTERVAL);
		break;
	case SID_STATE_NOT_READY:
		application_state_connected(&global_state_notifier, false);
		gnss_scan_timer_set(0);
		// err = sid_clock_now(SID_CLOCK_SOURCE_UPTIME, &nReady_time, NULL);
		// if (err != SID_ERROR_NONE)
		// 	LOG_ERR("%d = sid_clock_now()", err);
		app_ctx->frag.total_fragments = 0; // abort scan-result sending
		break;
	case SID_STATE_ERROR:
		LOG_ERR("Sidewalk error: %d", (int)sid_get_error(app_ctx->handle));
		break;
	case SID_STATE_SECURE_CHANNEL_READY:
		break;
	}

	application_state_registered(&global_state_notifier,
				status->detail.registration_status == SID_STATUS_REGISTERED);
	application_state_time_sync(&global_state_notifier, status->detail.time_sync_status == SID_STATUS_TIME_SYNCED);
	application_state_link(&global_state_notifier, !!(status->detail.link_status_mask));

	LOG_INF("Device %sregistered, Time Sync %s, Link status: {BLE: %s, FSK: %s, LoRa: %s}",
		(SID_STATUS_REGISTERED == status->detail.registration_status) ? "Is " : "Un",
		(SID_STATUS_TIME_SYNCED == status->detail.time_sync_status) ? "Success" : "Fail",
		(status->detail.link_status_mask & SID_LINK_TYPE_1) ? "Up" : "Down",
		(status->detail.link_status_mask & SID_LINK_TYPE_2) ? "Up" : "Down",
		(status->detail.link_status_mask & SID_LINK_TYPE_3) ? "Up" : "Down");

	// if (status->detail.link_status_mask & SID_LINK_TYPE_2)
	// 	strcpy(lcd_str, "FSK ");
	// else if (status->detail.link_status_mask & SID_LINK_TYPE_3)
	// 	strcpy(lcd_str, "LoRa");

	for (int i = 0; i < SID_LINK_TYPE_MAX_IDX; i++) {
		enum sid_link_mode mode = (enum sid_link_mode)status->detail.supported_link_modes[i];

		if (mode) {
			LOG_INF("Link mode on %s = {Cloud: %s, Mobile: %s}", link_mode_idx_name[i],
				(mode & SID_LINK_MODE_CLOUD) ? "True" : "False",
				(mode & SID_LINK_MODE_MOBILE) ? "True" : "False");
		}
	}
}

static void on_sidewalk_factory_reset(void *context)
{
	ARG_UNUSED(context);

	LOG_INF("factory reset notification received from sid api");
	if (sid_hal_reset(SID_HAL_RESET_NORMAL)) {
		LOG_WRN("Reboot type not supported");
	}
}

sid_error_t sidewalk_callbacks_set(void *context, struct sid_event_callbacks *callbacks)
{
	if (!callbacks) {
		return SID_ERROR_INVALID_ARGS;
	}
	callbacks->context = context;
	callbacks->on_event = on_sidewalk_event;
	callbacks->on_msg_received = on_sidewalk_msg_received;		/* Called from sid_process() */
	callbacks->on_msg_sent = on_sidewalk_msg_sent;				/* Called from sid_process() */
	callbacks->on_send_error = on_sidewalk_send_error;			/* Called from sid_process() */
	callbacks->on_status_changed = on_sidewalk_status_changed;	/* Called from sid_process() */
	callbacks->on_factory_reset = on_sidewalk_factory_reset;	/* Called from sid_process() */

	return SID_ERROR_NONE;
}
```
